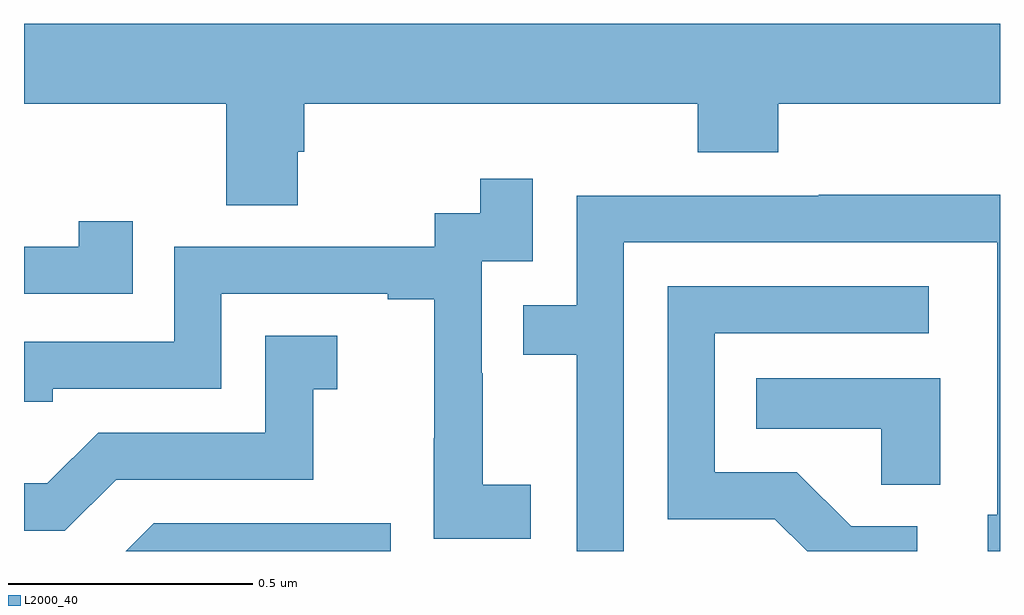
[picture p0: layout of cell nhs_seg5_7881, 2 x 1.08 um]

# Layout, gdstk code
import gdstk
lib = gdstk.Library(unit=1e-6, precision=1e-09)
def P(c, l, *ps):  # polygons
    for p in ps: c.add(gdstk.Polygon(p, *l))
L2000_40 = (2000, 40)

nhs_seg5_7881 = lib.new_cell('nhs_seg5_7881')
P(nhs_seg5_7881, L2000_40, [(214.561,900.618),(214.574,900.618),(214.574,900.716),(215.381,900.716),(215.381,900.617),(215.546,900.617),(215.546,900.716),(216,900.716),(216,900.88),(214,900.88),(214,900.716),(214.414,900.716),(214.414,900.508),(214.561,900.508)],
  [(215.038,899.935),(214.94,899.935),(214.94,900.164),(214.938,900.164),(214.938,900.393),(215.043,900.393),(215.043,900.562),(214.935,900.562),(214.935,900.492),(214.842,900.492),(214.842,900.423),(214.308,900.423),(214.308,900.228),(214,900.228),(214,900.105),(214.059,900.105),(214.059,900.132),(214.404,900.132),(214.404,900.327),(214.745,900.327),(214.745,900.315),(214.841,900.315),(214.841,900.031),(214.84,900.031),(214.84,899.825),(215.038,899.825)],
  [(215.229,900.432),(215.994,900.432),(215.994,899.874),(215.975,899.874),(215.975,899.799),(216,899.799),(216,900.53),(215.629,900.53),(215.629,900.528),(215.133,900.528),(215.133,900.303),(215.023,900.303),(215.023,900.202),(215.133,900.202),(215.133,899.799),(215.229,899.799)],
  [(214.223,900.475),(214.112,900.475),(214.112,900.423),(214,900.423),(214,900.327),(214.223,900.327)],
  [(215.83,899.85),(215.695,899.85),(215.584,899.961),(215.415,899.961),(215.415,900.246),(215.854,900.246),(215.854,900.342),(215.319,900.342),(215.319,899.865),(215.538,899.865),(215.605,899.799),(215.83,899.799)],
  [(214.189,899.946),(214.593,899.946),(214.593,900.131),(214.642,900.131),(214.642,900.241),(214.494,900.241),(214.494,900.042),(214.152,900.042),(214.048,899.938),(214,899.938),(214,899.841),(214.084,899.841)],
  [(215.878,900.154),(215.5,900.154),(215.5,900.05),(215.757,900.05),(215.757,899.935),(215.878,899.935)],
  [(214.752,899.856),(214.266,899.856),(214.209,899.799),(214.752,899.799)])

lib.write_gds('nhs_seg5_7881.gds')
